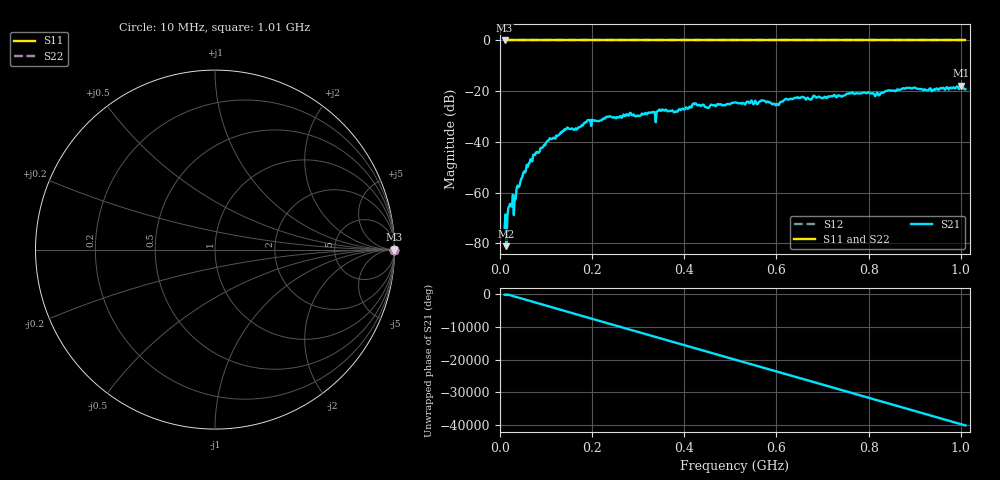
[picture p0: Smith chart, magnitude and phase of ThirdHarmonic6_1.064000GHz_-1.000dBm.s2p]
! 8/16/2025 9:34:23 AM
! C:\ANRITSUVNA\TEMP\TEMP.S2P
! CHANNEL.1
! TR.MEASUREMENT
! RAW.DATA
! RF.CORRECTION.OFF
! AVERAGING.OFF
! IF.BANDWIDTH: 5KHZ
! SWEEPTYPE:  FREQ.SWEEP(Linear)
! Reference Plane Port Info
! PORT:  PORT1  PORT2
! DISTANCE:  0  m  0  m
! TIME:  0  s  0  s
! PHASE.OFFSET:  0  deg.  0  deg.
! LOSS:  0  dB  0  dB
! REF.LOSS:  0  dB  0  dB
! REF.FREQ:  0  Hz  0  Hz
! Power Info
! POWER:  -20  dBm  -20  dBm
! EFF.POWER:  -20  dBm  -20  dBm
! SOURCE.ATTEN:  0  dB  0  dB
! TEST.ATTEN:  0  dB  0  dB
# GHZ S RI R 50.0
! FREQ.GHZ  S11RE  S11IM  S21RE  S21IM  S12RE  S12IM  S22RE  S22IM
!; PortSelection: Port_12
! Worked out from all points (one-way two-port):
!   501 points, 10 MHz to 1.01 GHz, reference 50 ohm
!   highest |S21| = -17.89 dB at 1 GHz (marker M1); lowest = -81.2 dB at 14 MHz (marker M2)
!   lowest |S11| = 0.0 dB at 10 MHz (marker M3)
!   |S11| at or under -10 dB: nowhere
!   |S22| runs from 0.0 to 0.0 dB; largest |S21 - S12| = 1.1
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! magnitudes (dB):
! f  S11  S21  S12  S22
! 10 MHz  0.0  -73.8  0.0  0.0
! 14 MHz  0.0  -81.2  0.0  0.0
! 20 MHz  0.0  -65.4  0.0  0.0
! 30 MHz  0.0  -68.9  0.0  0.0
! 48 MHz  0.0  -54.1  0.0  0.0
! 76 MHz  0.0  -45.2  0.0  0.0
! 144 MHz  0.0  -34.9  0.0  0.0
! 178 MHz  0.0  -33.3  0.0  0.0
! 192 MHz  0.0  -31.4  0.0  0.0
! 344 MHz  0.0  -27.7  0.0  0.0
! 382 MHz  0.0  -28.0  0.0  0.0
! 422 MHz  0.0  -25.2  0.0  0.0
! 450 MHz  0.0  -26.5  0.0  0.0
! 510 MHz  0.0  -24.4  0.0  0.0
! 570 MHz  0.0  -23.7  0.0  0.0
! 602 MHz  0.0  -25.2  0.0  0.0
! 620 MHz  0.0  -23.1  0.0  0.0
! 678 MHz  0.0  -22.6  0.0  0.0
! 818 MHz  0.0  -20.5  0.0  0.0
! 844 MHz  0.0  -19.7  0.0  0.0
! 1 GHz  0.0  -17.9  0.0  0.0
! 1.01 GHz  0.0  -19.3  0.0  0.0
